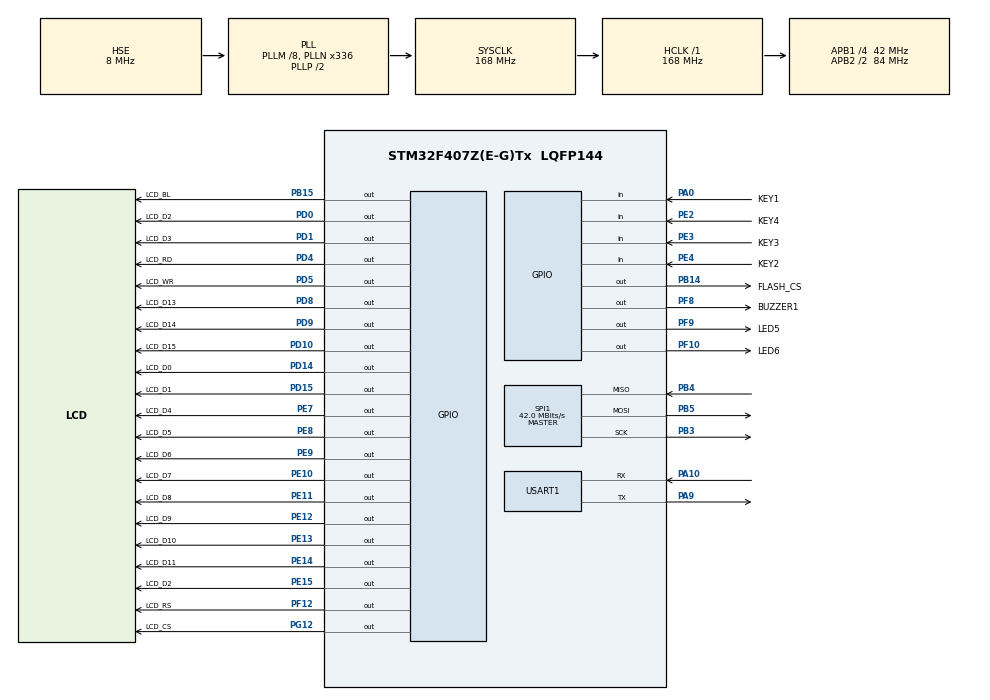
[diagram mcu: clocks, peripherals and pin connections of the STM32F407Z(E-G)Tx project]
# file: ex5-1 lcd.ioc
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Mcu.Family=STM32F4
Mcu.Name=STM32F407Z(E-G)Tx
Mcu.Package=LQFP144
NVIC.PriorityGroup=NVIC_PRIORITYGROUP_4
NVIC.USART1_IRQn=true\:0\:0\:false\:false\:true
PA0-WKUP.GPIO_Label=KEY1
PA0-WKUP.Signal=GPIO_Input
PA10.GPIO_Speed=GPIO_SPEED_FREQ_LOW
PA10.Mode=Asynchronous
PA10.Signal=USART1_RX
PA9.GPIO_Speed=GPIO_SPEED_FREQ_LOW
PA9.Mode=Asynchronous
PA9.Signal=USART1_TX
PB14.GPIO_Label=FLASH_CS
PB14.GPIO_Speed=GPIO_SPEED_FREQ_VERY_HIGH
PB14.Signal=GPIO_Output
PB15.GPIO_Label=LCD_BL
PB15.Signal=GPIO_Output
PB3.Mode=Full_Duplex_Master
PB3.Signal=SPI1_SCK
PB4.Mode=Full_Duplex_Master
PB4.Signal=SPI1_MISO
PB5.Mode=Full_Duplex_Master
PB5.Signal=SPI1_MOSI
PC14-OSC32_IN.Mode=LSE-External-Oscillator
PC14-OSC32_IN.Signal=RCC_OSC32_IN
PC15-OSC32_OUT.Mode=LSE-External-Oscillator
PC15-OSC32_OUT.Signal=RCC_OSC32_OUT
PD0.GPIO_Label=LCD_D2
PD0.GPIO_Speed=GPIO_SPEED_FREQ_VERY_HIGH
PD0.Signal=GPIO_Output
PD1.GPIO_Label=LCD_D3
PD1.GPIO_Speed=GPIO_SPEED_FREQ_VERY_HIGH
PD1.Signal=GPIO_Output
PD10.GPIO_Label=LCD_D15
PD10.GPIO_Speed=GPIO_SPEED_FREQ_VERY_HIGH
PD10.Signal=GPIO_Output
PD14.GPIO_Label=LCD_D0
PD14.GPIO_Speed=GPIO_SPEED_FREQ_VERY_HIGH
PD14.Signal=GPIO_Output
PD15.GPIO_Label=LCD_D1
PD15.GPIO_Speed=GPIO_SPEED_FREQ_VERY_HIGH
PD15.Signal=GPIO_Output
PD4.GPIO_Label=LCD_RD
PD4.GPIO_Speed=GPIO_SPEED_FREQ_VERY_HIGH
PD4.Signal=GPIO_Output
PD5.GPIO_Label=LCD_WR
PD5.GPIO_Speed=GPIO_SPEED_FREQ_VERY_HIGH
PD5.Signal=GPIO_Output
PD8.GPIO_Label=LCD_D13
PD8.GPIO_Speed=GPIO_SPEED_FREQ_VERY_HIGH
PD8.Signal=GPIO_Output
PD9.GPIO_Label=LCD_D14
PD9.GPIO_Speed=GPIO_SPEED_FREQ_VERY_HIGH
PD9.Signal=GPIO_Output
PE10.GPIO_Label=LCD_D7
PE10.GPIO_Speed=GPIO_SPEED_FREQ_VERY_HIGH
PE10.Signal=GPIO_Output
PE11.GPIO_Label=LCD_D8
PE11.GPIO_Speed=GPIO_SPEED_FREQ_VERY_HIGH
PE11.Signal=GPIO_Output
PE12.GPIO_Label=LCD_D9
PE12.GPIO_Speed=GPIO_SPEED_FREQ_VERY_HIGH
PE12.Signal=GPIO_Output
PE13.GPIO_Label=LCD_D10
PE13.GPIO_Speed=GPIO_SPEED_FREQ_VERY_HIGH
PE13.Signal=GPIO_Output
PE14.GPIO_Label=LCD_D11
PE14.GPIO_Speed=GPIO_SPEED_FREQ_VERY_HIGH
PE14.Signal=GPIO_Output
PE15.GPIO_Label=LCD_D2
PE15.GPIO_Speed=GPIO_SPEED_FREQ_VERY_HIGH
PE15.Signal=GPIO_Output
PE2.GPIO_Label=KEY4
PE2.Signal=GPIO_Input
PE3.GPIO_Label=KEY3
PE3.Signal=GPIO_Input
PE4.GPIO_Label=KEY2
PE4.Signal=GPIO_Input
PE7.GPIO_Label=LCD_D4
PE7.GPIO_Speed=GPIO_SPEED_FREQ_VERY_HIGH
PE7.Signal=GPIO_Output
PE8.GPIO_Label=LCD_D5
PE8.GPIO_Speed=GPIO_SPEED_FREQ_VERY_HIGH
PE8.Signal=GPIO_Output
PE9.GPIO_Label=LCD_D6
PE9.GPIO_Speed=GPIO_SPEED_FREQ_VERY_HIGH
PE9.Signal=GPIO_Output
PF10.GPIO_Label=LED6
PF10.PinState=GPIO_PIN_SET
PF10.Signal=GPIO_Output
PF12.GPIO_Label=LCD_RS
PF12.GPIO_Speed=GPIO_SPEED_FREQ_VERY_HIGH
PF12.Signal=GPIO_Output
PF8.GPIO_Label=BUZZER1
PF8.PinState=GPIO_PIN_RESET
PF8.Signal=GPIO_Output
PF9.GPIO_Label=LED5
PF9.PinState=GPIO_PIN_SET
PF9.Signal=GPIO_Output
PG12.GPIO_Label=LCD_CS
PG12.GPIO_Speed=GPIO_SPEED_FREQ_VERY_HIGH
PG12.Signal=GPIO_Output
PH0-OSC_IN.Mode=HSE-External-Oscillator
PH0-OSC_IN.Signal=RCC_OSC_IN
PH1-OSC_OUT.Mode=HSE-External-Oscillator
PH1-OSC_OUT.Signal=RCC_OSC_OUT
ProjectManager.HeapSize=0x200
ProjectManager.StackSize=0x400
ProjectManager.TargetToolchain=MDK-ARM V5
RCC.48MHZClocksFreq_Value=84000000
RCC.AHBFreq_Value=168000000
RCC.APB1CLKDivider=RCC_HCLK_DIV4
RCC.APB1Freq_Value=42000000
RCC.APB1TimFreq_Value=84000000
RCC.APB2CLKDivider=RCC_HCLK_DIV2
RCC.APB2Freq_Value=84000000
RCC.APB2TimFreq_Value=168000000
RCC.CortexFreq_Value=21000000
RCC.Cortex_Div=SYSTICK_CLKSOURCE_HCLK_DIV8
RCC.FLatency=FLASH_LATENCY_5
RCC.HCLKFreq_Value=168000000
RCC.HSE_VALUE=8000000
RCC.HSI_VALUE=16000000
RCC.PLLM=8
RCC.PLLN=336
RCC.PLLSourceVirtual=RCC_PLLSOURCE_HSE
RCC.SYSCLKFreq_VALUE=168000000
RCC.SYSCLKSource=RCC_SYSCLKSOURCE_PLLCLK
RCC.VCOOutputFreq_Value=336000000
SPI1.BaudRatePrescaler=SPI_BAUDRATEPRESCALER_2
SPI1.CRCCalculation=SPI_CRCCALCULATION_DISABLE
SPI1.CalculateBaudRate=42.0 MBits/s
SPI1.Mode=SPI_MODE_MASTER
board=ex5-1 lcd

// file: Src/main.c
/**
  ******************************************************************************
  * File Name          : main.c
  * Description        : Main program body
  ******************************************************************************
  *
  * COPYRIGHT(c) 2016 STMicroelectronics
  *
  * Redistribution and use in source and binary forms, with or without modification,
  * are permitted provided that the following conditions are met:
  *   1. Redistributions of source code must retain the above copyright notice,
  *      this list of conditions and the following disclaimer.
  *   2. Redistributions in binary form must reproduce the above copyright notice,
  *      this list of conditions and the following disclaimer in the documentation
  *      and/or other materials provided with the distribution.
  *   3. Neither the name of STMicroelectronics nor the names of its contributors
  *      may be used to endorse or promote products derived from this software
  *      without specific prior written permission.
  *
  * THIS SOFTWARE IS PROVIDED BY THE COPYRIGHT HOLDERS AND CONTRIBUTORS "AS IS"
  * AND ANY EXPRESS OR IMPLIED WARRANTIES, INCLUDING, BUT NOT LIMITED TO, THE
  * IMPLIED WARRANTIES OF MERCHANTABILITY AND FITNESS FOR A PARTICULAR PURPOSE ARE
  * DISCLAIMED. IN NO EVENT SHALL THE COPYRIGHT HOLDER OR CONTRIBUTORS BE LIABLE
  * FOR ANY DIRECT, INDIRECT, INCIDENTAL, SPECIAL, EXEMPLARY, OR CONSEQUENTIAL
  * DAMAGES (INCLUDING, BUT NOT LIMITED TO, PROCUREMENT OF SUBSTITUTE GOODS OR
  * SERVICES; LOSS OF USE, DATA, OR PROFITS; OR BUSINESS INTERRUPTION) HOWEVER
  * CAUSED AND ON ANY THEORY OF LIABILITY, WHETHER IN CONTRACT, STRICT LIABILITY,
  * OR TORT (INCLUDING NEGLIGENCE OR OTHERWISE) ARISING IN ANY WAY OUT OF THE USE
  * OF THIS SOFTWARE, EVEN IF ADVISED OF THE POSSIBILITY OF SUCH DAMAGE.
  *
  ******************************************************************************
  */
#include "main.h"
#include "stm32f4xx_hal.h"
#include "spi.h"
#include "usart.h"
#include "gpio.h"

/* USER CODE BEGIN Includes */
/*****************************************************************************
@File name:
@Description:
	- 控制ILI9341驱动的2.8寸显示屏，在屏幕上显示ascii字符和汉字(数组方式存储).
	- spi读取W25Q64的id信息, 通过串口打印出来（每5s打印一次）
	- 每隔5s提示输入数据（以回车判断字符串是否发送完毕）
	- uart1用中断方式接收数据,再发回给pc
@Hardware:
@Author: Harry Wu
@Version: V1.1
@Date: 2016-12-13
@History:
		V1.0 20161213: 程序移植自"ex7-4 - lcd CHS"
		V1.1 20190223：调整时间

*****************************************************************************/
#include "MyTypeDef.h"
#include "key.h"
#include "led.h"
#include "usart.h"
#include "flash.h"
#include "stdio.h"
#include "string.h"
#include "lcd.h"
/* USER CODE END Includes */

/* USER CODE BEGIN PV */
/* Private variables ---------------------------------------------------------*/

/* USER CODE END PV */

void SystemClock_Config(void);
void Error_Handler(void);

/* USER CODE BEGIN PFP */
/* Private function prototypes -----------------------------------------------*/

/* USER CODE END PFP */

int main(void)
{

  /* USER CODE BEGIN 1 */
	u8 key;
	u16 times=0;
	u8 *p="hello world!!! Harry\r\n";
	u8 buf[100];
//	u8 len;  //获取接收到的字节数
//	#define USART_REC_LEN  			200  	//定义最大接收字节数 200
//	u8 rec_data_buf[USART_REC_LEN];
	//u8 buff[10];
	//硬件初始化
  /* USER CODE END 1 */

  /* MCU Configuration----------------------------------------------------------*/

  /* Reset of all peripherals, Initializes the Flash interface and the Systick. */
  HAL_Init();

  /* Configure the system clock */
  SystemClock_Config();

  /* Initialize all configured peripherals */
  MX_GPIO_Init();
  MX_USART1_UART_Init();
  MX_SPI1_Init();

  /* USER CODE BEGIN 2 */
	__HAL_SPI_ENABLE(&hspi1);

  HAL_UART_Receive_IT(&huart1, (u8 *)aRxBuffer, RXBUFFERSIZE);

  SPI_Flash_Init();
	lcd_init();

  SPI_Flash_Write((u8 *)p,0x100,strlen(p)+1);
  SPI_Flash_Read(buf,0x100,strlen(p)+1);

	Draw_Circle(120,160,100);
	LCD_DrawLine(0,0,239,319);
	LCD_DrawRectangle(10,10,60,60);
	LCD_DrawSolidRectangle(10, 10, 230, 60, RED);
	Draw_SolidCircle(120,160,50);

	show_ascii(100, 10, 's', 1);
	HAL_Delay(100);
	show_ascii(108, 10, 'o', 1);
	HAL_Delay(100);
	show_ascii(116, 10, 'l', 1);
	HAL_Delay(100);
	show_ascii(124, 10, 'v', 1);
	HAL_Delay(100);
	show_ascii(132, 10, 'e', 1);

	show_ascii(100, 30, 'L', 0);
	HAL_Delay(100);
	show_ascii(108, 30, 'O', 0);
	HAL_Delay(100);
	show_ascii(116, 30, 'V', 0);
	HAL_Delay(100);
	show_ascii(124, 30, 'E', 0);
	HAL_Delay(100);
	show_ascii(132, 30, '!', 0);

	HAL_Delay(500);
	BACK_COLOR = GREEN;
	LCD_ShowString(80,160,"hello, how are you?",0);

	LCD_Show_CH(80, 160+16, 0, 0);
	LCD_Show_CH(80+16, 160+16, 1, 0);
	LCD_Show_CH(80+32, 160+16, 2, 0);
  /* USER CODE END 2 */

  /* Infinite loop */
  /* USER CODE BEGIN WHILE */
  while (1)
  {
	key = key_scanf();
	if(key == KEY1_OK) LED5 = !LED5;
	else if(key == KEY2_OK) LED6 = !LED6;
	else if(key == KEY3_OK) BUZZER1 = !BUZZER1;

    if(USART_RX_STA&(0x01<<15))  //如果接收完成
	{
//			len=USART_RX_STA&0x3fff;//得到此次接收到的数据长度
//			printf("\r\n您发送的消息为:\r\n");
//			HAL_UART_Transmit(&huart1,rec_data_buf,len,1000);	//发送接收到的数据
//			while(__HAL_UART_GET_FLAG(&huart1,UART_FLAG_TC)!=SET);		//等待发送结束
//			printf("\r\n\r\n");//插入换行
//			USART_RX_STA=0;
	}
	//如果接收没完成,接收完成了时候需要发送数据会上位机,所以下面的任务在没完成时处理比较好
	else
	{
		times++;  //time++很慢，后面都基本很长时间才能看到
		if(times%30==0)
		{
			printf("\r\n等的牙都长了！\r\n");
			//printf("正点原子@ALIENTEK\r\n\r\n\r\n");
		}
		if(times%5==0)  //5s打印一次
		{
			printf("请输入数据,以回车键结束（如无回车键，信息不会回传）\r\n");
			printf("0x%x\r\n",SPI_FLASH_TYPE);
			printf("%s",buf);
		}
		if(times%2==0)LED5=!LED5;//闪烁LED,提示系统正在运行.

		//HAL_Delay(1000);
		HAL_Delay(1000); //延时5s
	}

  /* USER CODE END WHILE */

  }

}

/** System Clock Configuration
*/
void SystemClock_Config(void)
{

  RCC_OscInitTypeDef RCC_OscInitStruct;
  RCC_ClkInitTypeDef RCC_ClkInitStruct;

    /**Configure the main internal regulator output voltage
    */
  __HAL_RCC_PWR_CLK_ENABLE();

  __HAL_PWR_VOLTAGESCALING_CONFIG(PWR_REGULATOR_VOLTAGE_SCALE1);

    /**Initializes the CPU, AHB and APB busses clocks
    */
  RCC_OscInitStruct.OscillatorType = RCC_OSCILLATORTYPE_HSE;
  RCC_OscInitStruct.HSEState = RCC_HSE_ON;
  RCC_OscInitStruct.PLL.PLLState = RCC_PLL_ON;
  RCC_OscInitStruct.PLL.PLLSource = RCC_PLLSOURCE_HSE;
  RCC_OscInitStruct.PLL.PLLM = 8;
  RCC_OscInitStruct.PLL.PLLN = 336;
  RCC_OscInitStruct.PLL.PLLP = RCC_PLLP_DIV2;
  RCC_OscInitStruct.PLL.PLLQ = 4;
  if (HAL_RCC_OscConfig(&RCC_OscInitStruct) != HAL_OK)
  {
    Error_Handler();
  }

    /**Initializes the CPU, AHB and APB busses clocks
    */
  RCC_ClkInitStruct.ClockType = RCC_CLOCKTYPE_HCLK|RCC_CLOCKTYPE_SYSCLK
                              |RCC_CLOCKTYPE_PCLK1|RCC_CLOCKTYPE_PCLK2;
  RCC_ClkInitStruct.SYSCLKSource = RCC_SYSCLKSOURCE_PLLCLK;
  RCC_ClkInitStruct.AHBCLKDivider = RCC_SYSCLK_DIV1;
  RCC_ClkInitStruct.APB1CLKDivider = RCC_HCLK_DIV4;
  RCC_ClkInitStruct.APB2CLKDivider = RCC_HCLK_DIV2;

  if (HAL_RCC_ClockConfig(&RCC_ClkInitStruct, FLASH_LATENCY_5) != HAL_OK)
  {
    Error_Handler();
  }

    /**Configure the Systick interrupt time
    */
  HAL_SYSTICK_Config(HAL_RCC_GetHCLKFreq()/8000);

    /**Configure the Systick
    */
  HAL_SYSTICK_CLKSourceConfig(SYSTICK_CLKSOURCE_HCLK_DIV8);

  /* SysTick_IRQn interrupt configuration */
  HAL_NVIC_SetPriority(SysTick_IRQn, 0, 0);
}

void Error_Handler(void)
{
  while(1)
  {
  }
}

/************************ (C) COPYRIGHT STMicroelectronics *****END OF FILE****/
